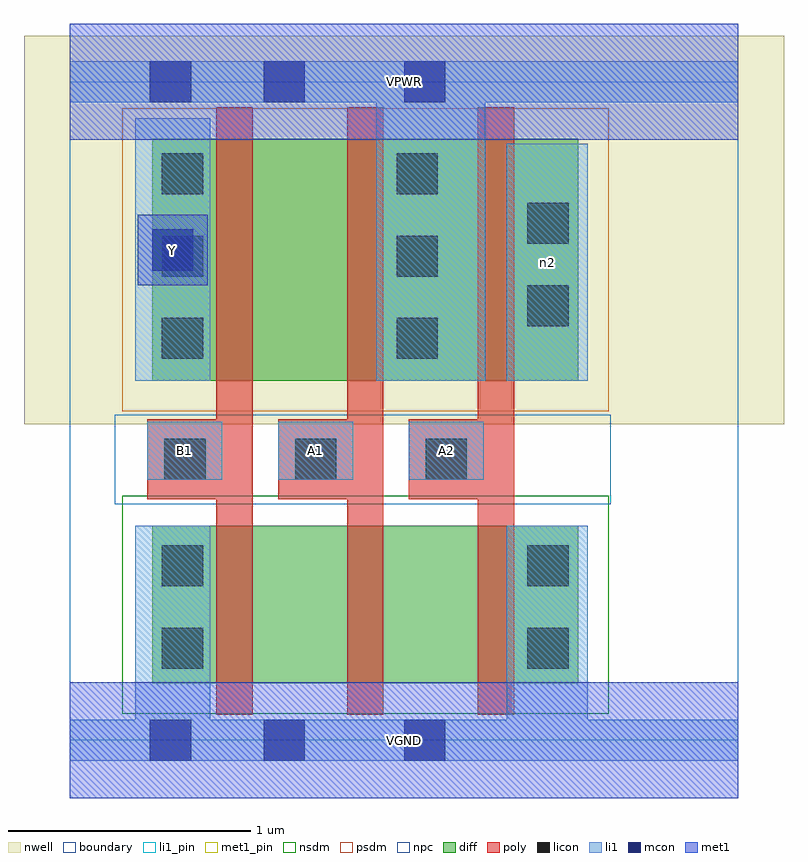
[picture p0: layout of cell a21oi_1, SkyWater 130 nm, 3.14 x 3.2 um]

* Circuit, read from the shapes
.subckt a21oi_1 A1 A2 B1 VGND VPWR Y n2
XM1 n1 B1 VGND VSUBS sky130_fd_pr__nfet_01v8 w=0.65 l=0.15
XM2 n3 A1 n1 VSUBS sky130_fd_pr__nfet_01v8 w=0.65 l=0.15
XM3 VGND A2 n3 VSUBS sky130_fd_pr__nfet_01v8 w=0.65 l=0.15
XM4 n4 B1 Y n5 sky130_fd_pr__pfet_01v8 w=1 l=0.15
XM5 VPWR A1 n4 n5 sky130_fd_pr__pfet_01v8 w=1 l=0.15
XM6 n2 A2 VPWR n5 sky130_fd_pr__pfet_01v8 w=1 l=0.15
.ends

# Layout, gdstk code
import gdstk
lib = gdstk.Library(unit=1e-6, precision=1e-09)
def R(c, l, rs):  # rectangles x0, y0, x1, y1
    for r in rs: c.add(gdstk.rectangle(r[:2], r[2:], *l))
def A(c, l, x, y, w, h, nx, ny, dx, dy):  # array of equal rectangles
    R(c, l, [(x+i*dx, y+j*dy, x+i*dx+w, y+j*dy+h) for i in range(nx) for j in range(ny)])
nwell = (64, 20)
diff = (65, 20)
poly = (66, 20)
licon = (66, 44)
li1_pin = (67, 16)
li1 = (67, 20)
mcon = (67, 44)
met1_pin = (68, 16)
met1 = (68, 20)
nsdm = (93, 44)
psdm = (94, 20)
npc = (95, 20)
boundary = (235, 4)

a21oi_1 = lib.new_cell('a21oi_1')
R(a21oi_1, nwell, [(-0.19,1.305,2.95,2.91), (0,1.305,2.76,2.91)])
R(a21oi_1, diff, [(0.34,0.235,2.1,0.885), (0.34,1.485,2.1,2.485)])
A(a21oi_1, poly, 0.605, 0.105, 0.15, 2.51, 3, 1, 0.54, 0)
A(a21oi_1, poly, 0.32, 0.995, 0.31, 0.33, 3, 1, 0.54, 0)
A(a21oi_1, licon, 0.39, 1.075, 0.17, 0.17, 3, 1, 0.54, 0)
A(a21oi_1, licon, 0.38, 1.575, 0.17, 0.17, 1, 3, 0, 0.34)
A(a21oi_1, licon, 1.35, 1.575, 0.17, 0.17, 1, 3, 0, 0.34)
R(a21oi_1, licon, [(0.38,0.295,0.55,0.465), (1.89,0.295,2.06,0.465), (0.38,0.635,0.55,0.805), (1.89,0.635,2.06,0.805), (1.89,1.71,2.06,1.88), (1.89,2.05,2.06,2.22)])
A(a21oi_1, li1_pin, 0.32, 1.075, 0.31, 0.24, 3, 1, 0.54, 0)
A(a21oi_1, li1, 0.32, 1.075, 0.31, 0.24, 3, 1, 0.54, 0)
R(a21oi_1, li1, [(0,-0.085,2.76,0.085), (0.27,-0.085,0.58,0.885), (0.38,-0.085,0.55,0.805), (1.805,-0.085,2.14,0.885), (0.27,1.485,0.58,2.57), (1.265,1.485,1.715,2.805), (1.805,1.485,2.14,2.465), (1.35,1.575,1.52,2.805), (0,2.635,2.76,2.805)])
R(a21oi_1, mcon, [(0.33,-0.085,0.5,0.085), (0.8,-0.085,0.97,0.085), (1.38,-0.085,1.55,0.085), (0.34,1.94,0.51,2.11), (0.33,2.635,0.5,2.805), (0.8,2.635,0.97,2.805), (1.38,2.635,1.55,2.805)])
R(a21oi_1, met1_pin, [(0,-0.24,2.76,0.24), (0.28,1.88,0.57,2.17), (0,2.48,2.76,2.96)])
R(a21oi_1, met1, [(0,-0.24,2.76,0.24), (0.28,1.88,0.57,2.17), (0,2.48,2.76,2.96)])
R(a21oi_1, nsdm, [(0.215,0.11,2.225,1.01)])
R(a21oi_1, psdm, [(0.215,1.36,2.225,2.61)])
R(a21oi_1, npc, [(0.185,0.975,2.235,1.345)])
R(a21oi_1, boundary, [(0,0,2.76,2.72)])
a21oi_1.add(gdstk.Label('B1', (0.475,1.195), layer=67, texttype=5))
a21oi_1.add(gdstk.Label('A1', (1.015,1.195), layer=67, texttype=5))
a21oi_1.add(gdstk.Label('A2', (1.555,1.195), layer=67, texttype=5))
a21oi_1.add(gdstk.Label('n2', (1.972,1.975), layer=67, texttype=5))
a21oi_1.add(gdstk.Label('Y', (0.425,2.025), layer=68, texttype=5))
a21oi_1.add(gdstk.Label('VPWR', (1.38,2.72), layer=68, texttype=5))
a21oi_1.add(gdstk.Label('VGND', (1.38,0), layer=68, texttype=5))
a21oi_1.add(gdstk.Label('B1', (0.475,1.195), layer=67, texttype=16))
a21oi_1.add(gdstk.Label('A1', (1.015,1.195), layer=67, texttype=16))
a21oi_1.add(gdstk.Label('A2', (1.555,1.195), layer=67, texttype=16))
a21oi_1.add(gdstk.Label('Y', (0.425,2.025), layer=68, texttype=16))
a21oi_1.add(gdstk.Label('VPWR', (1.38,2.72), layer=68, texttype=16))
a21oi_1.add(gdstk.Label('VGND', (1.38,0), layer=68, texttype=16))

lib.write_gds('a21oi_1.gds')
